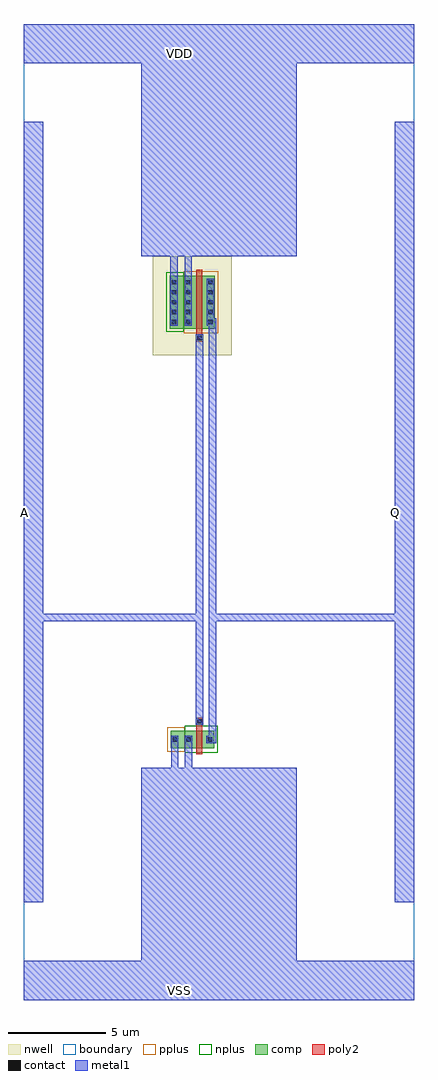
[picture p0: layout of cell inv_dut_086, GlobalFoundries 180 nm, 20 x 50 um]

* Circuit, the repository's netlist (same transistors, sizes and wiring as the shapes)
* inv_dut_086: pfet_03v3 W=2.70u L=0.30u / nfet_03v3 W=0.90u L=0.30u
.SUBCKT inv_dut_086 A Q VDD VSS
MMP Q A VDD VDD pfet_03v3 W=2.70u L=0.30u
MMN Q A VSS VSS nfet_03v3 W=0.90u L=0.30u
.ENDS

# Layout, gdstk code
import gdstk
lib = gdstk.Library(unit=1e-6, precision=1e-09)
def R(c, l, rs):  # rectangles x0, y0, x1, y1
    for r in rs: c.add(gdstk.rectangle(r[:2], r[2:], *l))
def A(c, l, x, y, w, h, nx, ny, dx, dy):  # array of equal rectangles
    R(c, l, [(x+i*dx, y+j*dy, x+i*dx+w, y+j*dy+h) for i in range(nx) for j in range(ny)])
def P(c, l, *ps):  # polygons
    for p in ps: c.add(gdstk.Polygon(p, *l))
boundary = (0, 0)
nwell = (21, 0)
comp = (22, 0)
poly2 = (30, 0)
pplus = (31, 0)
nplus = (32, 0)
contact = (33, 0)
metal1 = (34, 0)

inv_dut_086 = lib.new_cell('inv_dut_086')
R(inv_dut_086, boundary, [(-10,-25,10,25)])
R(inv_dut_086, nwell, [(-3.395,8.03,0.655,13.09)])
R(inv_dut_086, comp, [(-2.475,-12.1,-0.245,-11.2), (-2.535,9.4,-0.205,12.1)])
P(inv_dut_086, poly2, [(-1.155,-12.4),(-1.155,-10.9),(-1.185,-10.9),(-1.185,-10.54),(-0.825,-10.54),(-0.825,-10.9),(-0.855,-10.9),(-0.855,-12.4)],
  [(-1.195,8.72),(-1.195,9.1),(-1.155,9.1),(-1.155,12.4),(-0.855,12.4),(-0.855,9.1),(-0.815,9.1),(-0.815,8.72)])
R(inv_dut_086, pplus, [(-2.645,-12.27,-1.765,-11.03), (-1.805,9.16,-0.035,12.34)])
R(inv_dut_086, nplus, [(-1.765,-12.34,-0.075,-10.96), (-2.705,9.23,-1.805,12.27)])
A(inv_dut_086, contact, -2.415, 9.62, 0.22, 0.22, 1, 5, 0, 0.51)
A(inv_dut_086, contact, -1.685, 9.62, 0.22, 0.22, 1, 5, 0, 0.51)
A(inv_dut_086, contact, -0.545, 9.62, 0.22, 0.22, 1, 5, 0, 0.51)
R(inv_dut_086, contact, [(-2.375,-11.76,-2.155,-11.54), (-1.665,-11.76,-1.445,-11.54), (-0.565,-11.76,-0.345,-11.54), (-1.115,-10.83,-0.895,-10.61), (-1.115,8.8,-0.895,9.02)])
R(inv_dut_086, metal1, [(-10,-25,10,-23), (-3.995,-23,3.995,-13.4), (-10,-20,-9,20), (9,-20,10,20), (-3.995,-13.7,3.995,-13.1), (-2.455,-13.7,-2.075,-11.46), (-1.745,-13.7,-1.365,-11.46), (-2.455,-11.84,-2.075,-11.46), (-1.745,-11.84,-1.365,-11.46), (-0.645,-11.84,-0.135,-11.46), (-0.645,-11.84,-0.265,-11.46), (-0.515,-11.84,-0.135,9.92), (-1.195,-10.91,-0.815,9.1), (-1.195,-10.91,-0.815,-10.53), (-9,-5.6,-3.695,-5.2), (-3.995,-5.6,-0.815,-5.2), (-0.515,-5.6,3.995,-5.2), (3.695,-5.6,9,-5.2), (-1.195,8.72,-0.815,9.1), (-2.495,9.54,-2.115,13.7), (-2.495,9.54,-2.115,11.96), (-1.765,9.54,-1.385,13.7), (-1.765,9.54,-1.385,11.96), (-0.625,9.54,-0.135,9.92), (-0.625,9.54,-0.245,11.96), (-3.995,13.1,3.995,13.7), (-3.995,13.4,3.995,23), (-10,23,10,25)])
inv_dut_086.add(gdstk.Label('VDD', (-2,23.5), layer=34, texttype=10))
inv_dut_086.add(gdstk.Label('VSS', (-2,-24.5), layer=34, texttype=10))
inv_dut_086.add(gdstk.Label('A', (-9.97,0), layer=34, texttype=10))
inv_dut_086.add(gdstk.Label('Q', (9.03,0), layer=34, texttype=10))

lib.write_gds('inv_dut_086.gds')
